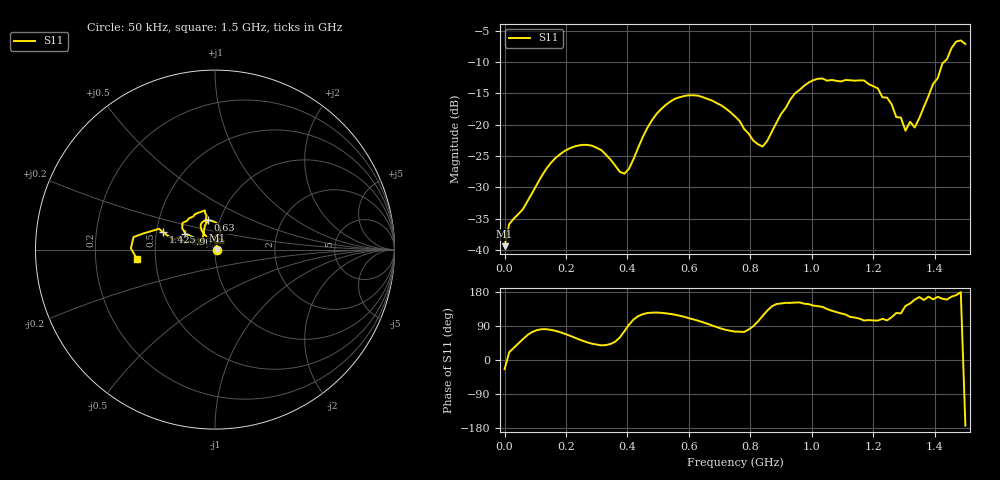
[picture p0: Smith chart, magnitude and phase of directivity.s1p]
! Created with skrf 1.8.0 (http://scikit-rf.org).
# Hz S RI R 50.0
!freq ReS11 ImS11
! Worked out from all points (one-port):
!   101 points, 50 kHz to 1.5 GHz, reference 50 ohm
!   lowest |S11| = -39.4 dB at 50 kHz (marker M1), VSWR 1.02, Z = 51 - j0.446 ohm
!   |S11| at or under -10 dB: start of sweep to 1.431 GHz
!   S11 on the Smith chart (normalised r, x): 50 kHz: 1.02, -0.01; 630 MHz: 0.88, +0.30; 960 MHz: 0.70, +0.13; 1.425 GHz: 0.54, +0.12; 1.5 GHz: 0.39, -0.05
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50000  0.00976 -0.00437
1.50495e7  0.015 0.00562
6.0048e7  0.0121 0.0174
1.350455e8  0.00658 0.0435
1.950435e8  0.0217 0.0574
2.850405e8  0.0496 0.0461
3.750375e8  0.0213 0.0361
4.050365e8  -0.00237 0.0444
4.950335e8  -0.0703 0.0996
5.70031e8  -0.0745 0.1474
6.30029e8  -0.04 0.1651
7.50025e8  0.0302 0.1122
8.10023e8  0.000655 0.0742
8.40022e8  -0.0297 0.0598
9.450185e8  -0.1555 0.0841
9.60018e8  -0.1665 0.089
1.020016e9  -0.1829 0.1426
1.125012e9  -0.0905 0.2066
1.21501e9  -0.047 0.1886
1.260008e9  -0.0563 0.1336
1.275008e9  -0.0641 0.0949
1.290007e9  -0.0618 0.0953
1.305006e9  -0.071 0.054
1.320006e9  -0.0902 0.0542
1.335006e9  -0.0887 0.0335
1.425002e9  -0.2908 0.0967
1.470001e9  -0.4536 0.0702
1.5e9  -0.4357 -0.0515
